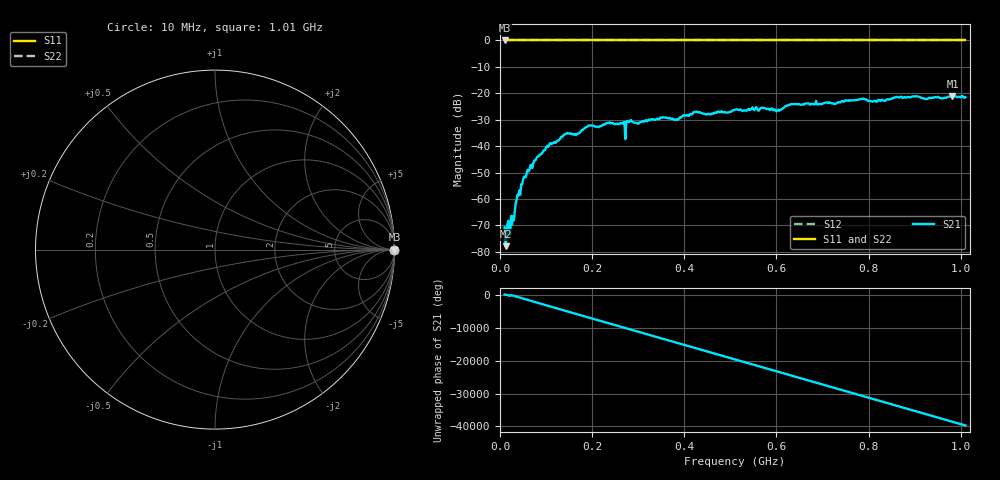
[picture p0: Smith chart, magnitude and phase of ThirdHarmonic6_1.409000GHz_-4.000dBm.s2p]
! 8/16/2025 4:08:30 PM
! C:\ANRITSUVNA\TEMP\TEMP.S2P
! CHANNEL.1
! TR.MEASUREMENT
! RAW.DATA
! RF.CORRECTION.OFF
! AVERAGING.OFF
! IF.BANDWIDTH: 5KHZ
! SWEEPTYPE:  FREQ.SWEEP(Linear)
! Reference Plane Port Info
! PORT:  PORT1  PORT2
! DISTANCE:  0  m  0  m
! TIME:  0  s  0  s
! PHASE.OFFSET:  0  deg.  0  deg.
! LOSS:  0  dB  0  dB
! REF.LOSS:  0  dB  0  dB
! REF.FREQ:  0  Hz  0  Hz
! Power Info
! POWER:  -20  dBm  -20  dBm
! EFF.POWER:  -20  dBm  -20  dBm
! SOURCE.ATTEN:  0  dB  0  dB
! TEST.ATTEN:  0  dB  0  dB
# GHZ S RI R 50.0
! FREQ.GHZ  S11RE  S11IM  S21RE  S21IM  S12RE  S12IM  S22RE  S22IM
!; PortSelection: Port_12
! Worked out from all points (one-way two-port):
!   501 points, 10 MHz to 1.01 GHz, reference 50 ohm
!   highest |S21| = -20.97 dB at 982 MHz (marker M1); lowest = -77.8 dB at 12 MHz (marker M2)
!   lowest |S11| = 0.0 dB at 10 MHz (marker M3)
!   |S11| at or under -10 dB: nowhere
!   |S22| runs from 0.0 to 0.0 dB; largest |S21 - S12| = 1.1
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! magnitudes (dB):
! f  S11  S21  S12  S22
! 10 MHz  0.0  -70.6  0.0  0.0
! 12 MHz  0.0  -77.8  0.0  0.0
! 26 MHz  0.0  -69.7  0.0  0.0
! 38 MHz  0.0  -58.4  0.0  0.0
! 50 MHz  0.0  -52.7  0.0  0.0
! 78 MHz  0.0  -45.1  0.0  0.0
! 142 MHz  0.0  -35.5  0.0  0.0
! 178 MHz  0.0  -33.9  0.0  0.0
! 196 MHz  0.0  -32.2  0.0  0.0
! 266 MHz  0.0  -31.5  0.0  0.0
! 268 MHz  0.0  -31.0  0.0  0.0
! 280 MHz  0.0  -30.9  0.0  0.0
! 344 MHz  0.0  -29.8  0.0  0.0
! 382 MHz  0.0  -29.9  0.0  0.0
! 424 MHz  0.0  -27.1  0.0  0.0
! 510 MHz  0.0  -26.2  0.0  0.0
! 602 MHz  0.0  -26.4  0.0  0.0
! 634 MHz  0.0  -24.1  0.0  0.0
! 678 MHz  0.0  -24.0  0.0  0.0
! 844 MHz  0.0  -22.3  0.0  0.0
! 982 MHz  0.0  -21.0  0.0  0.0
! 1.01 GHz  0.0  -21.5  0.0  0.0
